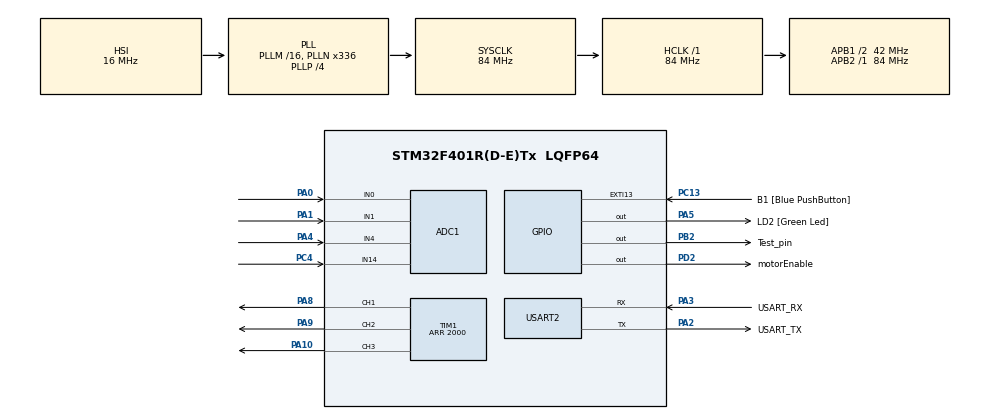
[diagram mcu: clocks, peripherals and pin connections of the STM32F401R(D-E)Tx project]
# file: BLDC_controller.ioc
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ADC1.Channel-0\#ChannelRegularConversion=ADC_CHANNEL_0
ADC1.Channel-1\#ChannelRegularConversion=ADC_CHANNEL_1
ADC1.Channel-2\#ChannelRegularConversion=ADC_CHANNEL_4
ADC1.Channel-3\#ChannelRegularConversion=ADC_CHANNEL_14
ADC1.ContinuousConvMode=DISABLE
ADC1.DMAContinuousRequests=ENABLE
ADC1.EOCSelection=ADC_EOC_SEQ_CONV
ADC1.NbrOfConversion=4
ADC1.NbrOfConversionFlag=1
ADC1.Rank-0\#ChannelRegularConversion=1
ADC1.Rank-1\#ChannelRegularConversion=2
ADC1.Rank-2\#ChannelRegularConversion=3
ADC1.Rank-3\#ChannelRegularConversion=4
ADC1.SamplingTime-0\#ChannelRegularConversion=ADC_SAMPLETIME_3CYCLES
ADC1.SamplingTime-1\#ChannelRegularConversion=ADC_SAMPLETIME_3CYCLES
ADC1.SamplingTime-2\#ChannelRegularConversion=ADC_SAMPLETIME_3CYCLES
ADC1.SamplingTime-3\#ChannelRegularConversion=ADC_SAMPLETIME_3CYCLES
ADC1.master=1
Dma.ADC1.0.Direction=DMA_PERIPH_TO_MEMORY
Dma.ADC1.0.FIFOMode=DMA_FIFOMODE_DISABLE
Dma.ADC1.0.Instance=DMA2_Stream0
Dma.ADC1.0.MemDataAlignment=DMA_MDATAALIGN_HALFWORD
Dma.ADC1.0.MemInc=DMA_MINC_ENABLE
Dma.ADC1.0.Mode=DMA_NORMAL
Dma.ADC1.0.PeriphDataAlignment=DMA_PDATAALIGN_HALFWORD
Dma.ADC1.0.PeriphInc=DMA_PINC_DISABLE
Dma.ADC1.0.Priority=DMA_PRIORITY_LOW
Dma.Request0=ADC1
Mcu.Family=STM32F4
Mcu.Name=STM32F401R(D-E)Tx
Mcu.Package=LQFP64
NVIC.DMA2_Stream0_IRQn=true\:0\:0\:false\:false\:true\:false\:true
NVIC.EXTI15_10_IRQn=true\:0\:0\:false\:false\:true\:true\:true
NVIC.PriorityGroup=NVIC_PRIORITYGROUP_0
NVIC.TIM1_CC_IRQn=true\:0\:0\:false\:false\:true\:true\:true
PA0-WKUP.Signal=ADCx_IN0
PA1.Signal=ADCx_IN1
PA10.Signal=S_TIM1_CH3
PA13.GPIO_Label=TMS
PA13.Mode=Serial_Wire
PA13.Signal=SYS_JTMS-SWDIO
PA14.GPIO_Label=TCK
PA14.Mode=Serial_Wire
PA14.Signal=SYS_JTCK-SWCLK
PA2.GPIO_Label=USART_TX
PA2.GPIO_Mode=GPIO_MODE_AF_PP
PA2.GPIO_PuPd=GPIO_NOPULL
PA2.GPIO_Speed=GPIO_SPEED_FREQ_LOW
PA2.Mode=Asynchronous
PA2.Signal=USART2_TX
PA3.GPIO_Label=USART_RX
PA3.GPIO_Mode=GPIO_MODE_AF_PP
PA3.GPIO_PuPd=GPIO_NOPULL
PA3.GPIO_Speed=GPIO_SPEED_FREQ_LOW
PA3.Mode=Asynchronous
PA3.Signal=USART2_RX
PA4.Signal=ADCx_IN4
PA5.GPIO_Label=LD2 [Green Led]
PA5.GPIO_Mode=GPIO_MODE_OUTPUT_PP
PA5.GPIO_PuPd=GPIO_NOPULL
PA5.GPIO_Speed=GPIO_SPEED_FREQ_LOW
PA5.Signal=GPIO_Output
PA8.Signal=S_TIM1_CH1
PA9.Signal=S_TIM1_CH2
PB2.GPIO_Label=Test_pin
PB2.Signal=GPIO_Output
PB3.GPIO_Label=SWO
PB3.Signal=SYS_JTDO-SWO
PC13-ANTI_TAMP.GPIO_Label=B1 [Blue PushButton]
PC13-ANTI_TAMP.GPIO_ModeDefaultEXTI=GPIO_MODE_IT_FALLING
PC13-ANTI_TAMP.GPIO_PuPd=GPIO_NOPULL
PC13-ANTI_TAMP.Signal=GPXTI13
PC14-OSC32_IN.Mode=LSE-External-Oscillator
PC14-OSC32_IN.Signal=RCC_OSC32_IN
PC15-OSC32_OUT.Mode=LSE-External-Oscillator
PC15-OSC32_OUT.Signal=RCC_OSC32_OUT
PC4.Signal=ADCx_IN14
PC6.GPIO_Label=PWM_A
PC6.Signal=S_TIM3_CH1
PC8.GPIO_Label=PWM_B
PC8.Signal=S_TIM3_CH3
PC9.GPIO_Label=PWM_C
PC9.Signal=S_TIM3_CH4
PD2.GPIO_Label=motorEnable
PD2.Signal=GPIO_Output
PH0\ -\ OSC_IN.Mode=HSE-External-Clock-Source
PH0\ -\ OSC_IN.Signal=RCC_OSC_IN
PH1\ -\ OSC_OUT.Mode=HSE-External-Clock-Source
PH1\ -\ OSC_OUT.Signal=RCC_OSC_OUT
ProjectManager.HeapSize=0x200
ProjectManager.StackSize=0x400
ProjectManager.TargetToolchain=STM32CubeIDE
RCC.48MHZClocksFreq_Value=48000000
RCC.AHBFreq_Value=84000000
RCC.APB1CLKDivider=RCC_HCLK_DIV2
RCC.APB1Freq_Value=42000000
RCC.APB1TimFreq_Value=84000000
RCC.APB2Freq_Value=84000000
RCC.APB2TimFreq_Value=84000000
RCC.CortexFreq_Value=84000000
RCC.HCLKFreq_Value=84000000
RCC.HSE_VALUE=8000000
RCC.HSI_VALUE=16000000
RCC.PLLN=336
RCC.PLLP=RCC_PLLP_DIV4
RCC.PLLQ=7
RCC.SYSCLKFreq_VALUE=84000000
RCC.SYSCLKSource=RCC_SYSCLKSOURCE_PLLCLK
RCC.VCOOutputFreq_Value=336000000
SH.ADCx_IN0.0=ADC1_IN0,IN0
SH.ADCx_IN1.0=ADC1_IN1,IN1
SH.ADCx_IN14.0=ADC1_IN14,IN14
SH.ADCx_IN4.0=ADC1_IN4,IN4
SH.S_TIM1_CH1.0=TIM1_CH1,PWM Generation1 CH1
SH.S_TIM1_CH2.0=TIM1_CH2,PWM Generation2 CH2
SH.S_TIM1_CH3.0=TIM1_CH3,PWM Generation3 CH3
SH.S_TIM3_CH1.0=TIM3_CH1
SH.S_TIM3_CH3.0=TIM3_CH3
SH.S_TIM3_CH4.0=TIM3_CH4
TIM1.Channel-Output\ Compare4\ No\ Output=TIM_CHANNEL_4
TIM1.Channel-PWM\ Generation1\ CH1=TIM_CHANNEL_1
TIM1.Channel-PWM\ Generation2\ CH2=TIM_CHANNEL_2
TIM1.Channel-PWM\ Generation3\ CH3=TIM_CHANNEL_3
TIM1.CounterMode=TIM_COUNTERMODE_CENTERALIGNED1
TIM1.Period=2000
TIM1.Pulse-Output\ Compare4\ No\ Output=640
TIM1.Pulse-PWM\ Generation1\ CH1=1000
TIM1.Pulse-PWM\ Generation2\ CH2=1000
TIM1.Pulse-PWM\ Generation3\ CH3=1000
USART2.VirtualMode=VM_ASYNC
VP_TIM1_VS_ClockSourceINT.Mode=Internal
VP_TIM1_VS_no_output4.Mode=Output Compare4 No Output
board=NUCLEO-F401RE

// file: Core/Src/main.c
/* USER CODE BEGIN Header */
/**
  ******************************************************************************
  * @file           : main.c
  * @brief          : Main program body
  ******************************************************************************
  * @attention
  *
  * Copyright (c) 2021 STMicroelectronics.
  * All rights reserved.
  *
  * This software is licensed under terms that can be found in the LICENSE file
  * in the root directory of this software component.
  * If no LICENSE file comes with this software, it is provided AS-IS.
  *
  ******************************************************************************
  */
/* USER CODE END Header */
#include "main.h"

/* USER CODE BEGIN Includes */
#include "SVM.h"
#include "stdio.h"
/* USER CODE END Includes */

/* USER CODE BEGIN PD */
#define PWM_CHANNELS	3
#define ADC_CHANNELS	4
#define ADC_MAX_12B		0xFFF
/* USER CODE END PD */

ADC_HandleTypeDef hadc1;
DMA_HandleTypeDef hdma_adc1;

TIM_HandleTypeDef htim1;

UART_HandleTypeDef huart2;

/* USER CODE BEGIN PV */

//global variables for monitoring
uint32_t g_PwmA;
uint32_t g_PwmB;
uint32_t g_PwmC;
uint32_t g_PwmMid;

uint32_t pwmValues[PWM_CHANNELS];
uint16_t adcValues[ADC_CHANNELS];
/* USER CODE END PV */

void SystemClock_Config(void);
static void MX_GPIO_Init(void);
static void MX_USART2_UART_Init(void);
static void MX_DMA_Init(void);
static void MX_ADC1_Init(void);
static void MX_TIM1_Init(void);

int main(void)
{

  /* MCU Configuration--------------------------------------------------------*/

  /* Reset of all peripherals, Initializes the Flash interface and the Systick. */
  HAL_Init();

  /* Configure the system clock */
  SystemClock_Config();

  /* Initialize all configured peripherals */
  MX_GPIO_Init();
  MX_USART2_UART_Init();
  MX_DMA_Init();
  MX_ADC1_Init();
  MX_TIM1_Init();
  /* USER CODE BEGIN 2 */
  uint32_t counter = 0;

  HAL_TIM_PWM_Start(&htim1, TIM_CHANNEL_1);
  HAL_TIM_PWM_Start(&htim1, TIM_CHANNEL_2);
  HAL_TIM_PWM_Start(&htim1, TIM_CHANNEL_3);
  //channel 4 generates interrupts for ADC synchronization
  //adjust channel 2 pulse width for generating interrupts in the middle of other pulses
  HAL_TIM_PWM_Start_IT(&htim1, TIM_CHANNEL_4);

  const int32_t PwmPeriod = htim1.Init.Period;

  printf("BLDC controller v1.0\r\n");

  HAL_GPIO_WritePin(motorEnable_GPIO_Port, motorEnable_Pin, GPIO_PIN_SET);
  /* USER CODE END 2 */

  /* Infinite loop */
  /* USER CODE BEGIN WHILE */
  while (1)
  {
	  counter++;

	  /* main loop heartbeat */
	  if(counter % 50000 == 0)
	  {
		  HAL_GPIO_TogglePin(LD2_GPIO_Port, LD2_Pin);
		  printf("%u\r\n", adcValues[3]);
	  }

	  uint32_t angle = (counter >> 4) % 36000;
	  pwmValues[0] = ((getSVMvalue(angle) * PwmPeriod) >> 16) * adcValues[3] / ADC_MAX_12B + (PwmPeriod >> 1);
	  pwmValues[1] = ((getSVMvalue(angle + 12000) * PwmPeriod) >> 16) * adcValues[3] / ADC_MAX_12B + (PwmPeriod >> 1);
	  pwmValues[2] = ((getSVMvalue(angle + 24000) * PwmPeriod) >> 16) * adcValues[3] / ADC_MAX_12B + (PwmPeriod >> 1);

	  g_PwmA = pwmValues[0];
	  g_PwmB = pwmValues[1];
	  g_PwmC = pwmValues[2];
	  g_PwmMid = (g_PwmA + g_PwmB + g_PwmC) / 3;

	  //HAL_GPIO_TogglePin(Test_pin_GPIO_Port, Test_pin_Pin);

    /* USER CODE END WHILE */

  }
}

void SystemClock_Config(void)
{
  RCC_OscInitTypeDef RCC_OscInitStruct = {0};
  RCC_ClkInitTypeDef RCC_ClkInitStruct = {0};

  /** Configure the main internal regulator output voltage
  */
  __HAL_RCC_PWR_CLK_ENABLE();
  __HAL_PWR_VOLTAGESCALING_CONFIG(PWR_REGULATOR_VOLTAGE_SCALE2);
  /** Initializes the RCC Oscillators according to the specified parameters
  * in the RCC_OscInitTypeDef structure.
  */
  RCC_OscInitStruct.OscillatorType = RCC_OSCILLATORTYPE_HSI;
  RCC_OscInitStruct.HSIState = RCC_HSI_ON;
  RCC_OscInitStruct.HSICalibrationValue = RCC_HSICALIBRATION_DEFAULT;
  RCC_OscInitStruct.PLL.PLLState = RCC_PLL_ON;
  RCC_OscInitStruct.PLL.PLLSource = RCC_PLLSOURCE_HSI;
  RCC_OscInitStruct.PLL.PLLM = 16;
  RCC_OscInitStruct.PLL.PLLN = 336;
  RCC_OscInitStruct.PLL.PLLP = RCC_PLLP_DIV4;
  RCC_OscInitStruct.PLL.PLLQ = 7;
  if (HAL_RCC_OscConfig(&RCC_OscInitStruct) != HAL_OK)
  {
    Error_Handler();
  }
  /** Initializes the CPU, AHB and APB buses clocks
  */
  RCC_ClkInitStruct.ClockType = RCC_CLOCKTYPE_HCLK|RCC_CLOCKTYPE_SYSCLK
                              |RCC_CLOCKTYPE_PCLK1|RCC_CLOCKTYPE_PCLK2;
  RCC_ClkInitStruct.SYSCLKSource = RCC_SYSCLKSOURCE_PLLCLK;
  RCC_ClkInitStruct.AHBCLKDivider = RCC_SYSCLK_DIV1;
  RCC_ClkInitStruct.APB1CLKDivider = RCC_HCLK_DIV2;
  RCC_ClkInitStruct.APB2CLKDivider = RCC_HCLK_DIV1;

  if (HAL_RCC_ClockConfig(&RCC_ClkInitStruct, FLASH_LATENCY_2) != HAL_OK)
  {
    Error_Handler();
  }
}

static void MX_ADC1_Init(void)
{

  ADC_ChannelConfTypeDef sConfig = {0};

  /** Configure the global features of the ADC (Clock, Resolution, Data Alignment and number of conversion)
  */
  hadc1.Instance = ADC1;
  hadc1.Init.ClockPrescaler = ADC_CLOCK_SYNC_PCLK_DIV4;
  hadc1.Init.Resolution = ADC_RESOLUTION_12B;
  hadc1.Init.ScanConvMode = ENABLE;
  hadc1.Init.ContinuousConvMode = DISABLE;
  hadc1.Init.DiscontinuousConvMode = DISABLE;
  hadc1.Init.ExternalTrigConvEdge = ADC_EXTERNALTRIGCONVEDGE_NONE;
  hadc1.Init.ExternalTrigConv = ADC_SOFTWARE_START;
  hadc1.Init.DataAlign = ADC_DATAALIGN_RIGHT;
  hadc1.Init.NbrOfConversion = 4;
  hadc1.Init.DMAContinuousRequests = ENABLE;
  hadc1.Init.EOCSelection = ADC_EOC_SEQ_CONV;
  if (HAL_ADC_Init(&hadc1) != HAL_OK)
  {
    Error_Handler();
  }
  /** Configure for the selected ADC regular channel its corresponding rank in the sequencer and its sample time.
  */
  sConfig.Channel = ADC_CHANNEL_0;
  sConfig.Rank = 1;
  sConfig.SamplingTime = ADC_SAMPLETIME_3CYCLES;
  if (HAL_ADC_ConfigChannel(&hadc1, &sConfig) != HAL_OK)
  {
    Error_Handler();
  }
  /** Configure for the selected ADC regular channel its corresponding rank in the sequencer and its sample time.
  */
  sConfig.Channel = ADC_CHANNEL_1;
  sConfig.Rank = 2;
  if (HAL_ADC_ConfigChannel(&hadc1, &sConfig) != HAL_OK)
  {
    Error_Handler();
  }
  /** Configure for the selected ADC regular channel its corresponding rank in the sequencer and its sample time.
  */
  sConfig.Channel = ADC_CHANNEL_4;
  sConfig.Rank = 3;
  if (HAL_ADC_ConfigChannel(&hadc1, &sConfig) != HAL_OK)
  {
    Error_Handler();
  }
  /** Configure for the selected ADC regular channel its corresponding rank in the sequencer and its sample time.
  */
  sConfig.Channel = ADC_CHANNEL_14;
  sConfig.Rank = 4;
  if (HAL_ADC_ConfigChannel(&hadc1, &sConfig) != HAL_OK)
  {
    Error_Handler();
  }

}

static void MX_TIM1_Init(void)
{

  TIM_ClockConfigTypeDef sClockSourceConfig = {0};
  TIM_MasterConfigTypeDef sMasterConfig = {0};
  TIM_OC_InitTypeDef sConfigOC = {0};
  TIM_BreakDeadTimeConfigTypeDef sBreakDeadTimeConfig = {0};

  htim1.Instance = TIM1;
  htim1.Init.Prescaler = 0;
  htim1.Init.CounterMode = TIM_COUNTERMODE_CENTERALIGNED1;
  htim1.Init.Period = 2000;
  htim1.Init.ClockDivision = TIM_CLOCKDIVISION_DIV1;
  htim1.Init.RepetitionCounter = 0;
  htim1.Init.AutoReloadPreload = TIM_AUTORELOAD_PRELOAD_DISABLE;
  if (HAL_TIM_Base_Init(&htim1) != HAL_OK)
  {
    Error_Handler();
  }
  sClockSourceConfig.ClockSource = TIM_CLOCKSOURCE_INTERNAL;
  if (HAL_TIM_ConfigClockSource(&htim1, &sClockSourceConfig) != HAL_OK)
  {
    Error_Handler();
  }
  if (HAL_TIM_PWM_Init(&htim1) != HAL_OK)
  {
    Error_Handler();
  }
  if (HAL_TIM_OC_Init(&htim1) != HAL_OK)
  {
    Error_Handler();
  }
  sMasterConfig.MasterOutputTrigger = TIM_TRGO_RESET;
  sMasterConfig.MasterSlaveMode = TIM_MASTERSLAVEMODE_DISABLE;
  if (HAL_TIMEx_MasterConfigSynchronization(&htim1, &sMasterConfig) != HAL_OK)
  {
    Error_Handler();
  }
  sConfigOC.OCMode = TIM_OCMODE_PWM1;
  sConfigOC.Pulse = 1000;
  sConfigOC.OCPolarity = TIM_OCPOLARITY_HIGH;
  sConfigOC.OCNPolarity = TIM_OCNPOLARITY_HIGH;
  sConfigOC.OCFastMode = TIM_OCFAST_DISABLE;
  sConfigOC.OCIdleState = TIM_OCIDLESTATE_RESET;
  sConfigOC.OCNIdleState = TIM_OCNIDLESTATE_RESET;
  if (HAL_TIM_PWM_ConfigChannel(&htim1, &sConfigOC, TIM_CHANNEL_1) != HAL_OK)
  {
    Error_Handler();
  }
  if (HAL_TIM_PWM_ConfigChannel(&htim1, &sConfigOC, TIM_CHANNEL_2) != HAL_OK)
  {
    Error_Handler();
  }
  if (HAL_TIM_PWM_ConfigChannel(&htim1, &sConfigOC, TIM_CHANNEL_3) != HAL_OK)
  {
    Error_Handler();
  }
  sConfigOC.OCMode = TIM_OCMODE_TIMING;
  sConfigOC.Pulse = 640;
  if (HAL_TIM_OC_ConfigChannel(&htim1, &sConfigOC, TIM_CHANNEL_4) != HAL_OK)
  {
    Error_Handler();
  }
  sBreakDeadTimeConfig.OffStateRunMode = TIM_OSSR_DISABLE;
  sBreakDeadTimeConfig.OffStateIDLEMode = TIM_OSSI_DISABLE;
  sBreakDeadTimeConfig.LockLevel = TIM_LOCKLEVEL_OFF;
  sBreakDeadTimeConfig.DeadTime = 0;
  sBreakDeadTimeConfig.BreakState = TIM_BREAK_DISABLE;
  sBreakDeadTimeConfig.BreakPolarity = TIM_BREAKPOLARITY_HIGH;
  sBreakDeadTimeConfig.AutomaticOutput = TIM_AUTOMATICOUTPUT_DISABLE;
  if (HAL_TIMEx_ConfigBreakDeadTime(&htim1, &sBreakDeadTimeConfig) != HAL_OK)
  {
    Error_Handler();
  }
  HAL_TIM_MspPostInit(&htim1);

}

static void MX_USART2_UART_Init(void)
{

  huart2.Instance = USART2;
  huart2.Init.BaudRate = 115200;
  huart2.Init.WordLength = UART_WORDLENGTH_8B;
  huart2.Init.StopBits = UART_STOPBITS_1;
  huart2.Init.Parity = UART_PARITY_NONE;
  huart2.Init.Mode = UART_MODE_TX_RX;
  huart2.Init.HwFlowCtl = UART_HWCONTROL_NONE;
  huart2.Init.OverSampling = UART_OVERSAMPLING_16;
  if (HAL_UART_Init(&huart2) != HAL_OK)
  {
    Error_Handler();
  }

}

static void MX_DMA_Init(void)
{

  /* DMA controller clock enable */
  __HAL_RCC_DMA2_CLK_ENABLE();

  /* DMA interrupt init */
  /* DMA2_Stream0_IRQn interrupt configuration */
  HAL_NVIC_SetPriority(DMA2_Stream0_IRQn, 0, 0);
  HAL_NVIC_EnableIRQ(DMA2_Stream0_IRQn);

}

static void MX_GPIO_Init(void)
{
  GPIO_InitTypeDef GPIO_InitStruct = {0};

  /* GPIO Ports Clock Enable */
  __HAL_RCC_GPIOC_CLK_ENABLE();
  __HAL_RCC_GPIOH_CLK_ENABLE();
  __HAL_RCC_GPIOA_CLK_ENABLE();
  __HAL_RCC_GPIOB_CLK_ENABLE();
  __HAL_RCC_GPIOD_CLK_ENABLE();

  /*Configure GPIO pin Output Level */
  HAL_GPIO_WritePin(LD2_GPIO_Port, LD2_Pin, GPIO_PIN_RESET);

  /*Configure GPIO pin Output Level */
  HAL_GPIO_WritePin(Test_pin_GPIO_Port, Test_pin_Pin, GPIO_PIN_RESET);

  /*Configure GPIO pin Output Level */
  HAL_GPIO_WritePin(motorEnable_GPIO_Port, motorEnable_Pin, GPIO_PIN_RESET);

  /*Configure GPIO pin : B1_Pin */
  GPIO_InitStruct.Pin = B1_Pin;
  GPIO_InitStruct.Mode = GPIO_MODE_IT_FALLING;
  GPIO_InitStruct.Pull = GPIO_NOPULL;
  HAL_GPIO_Init(B1_GPIO_Port, &GPIO_InitStruct);

  /*Configure GPIO pin : LD2_Pin */
  GPIO_InitStruct.Pin = LD2_Pin;
  GPIO_InitStruct.Mode = GPIO_MODE_OUTPUT_PP;
  GPIO_InitStruct.Pull = GPIO_NOPULL;
  GPIO_InitStruct.Speed = GPIO_SPEED_FREQ_LOW;
  HAL_GPIO_Init(LD2_GPIO_Port, &GPIO_InitStruct);

  /*Configure GPIO pin : Test_pin_Pin */
  GPIO_InitStruct.Pin = Test_pin_Pin;
  GPIO_InitStruct.Mode = GPIO_MODE_OUTPUT_PP;
  GPIO_InitStruct.Pull = GPIO_NOPULL;
  GPIO_InitStruct.Speed = GPIO_SPEED_FREQ_LOW;
  HAL_GPIO_Init(Test_pin_GPIO_Port, &GPIO_InitStruct);

  /*Configure GPIO pins : PWM_A_Pin PWM_B_Pin PWM_C_Pin */
  GPIO_InitStruct.Pin = PWM_A_Pin|PWM_B_Pin|PWM_C_Pin;
  GPIO_InitStruct.Mode = GPIO_MODE_AF_PP;
  GPIO_InitStruct.Pull = GPIO_NOPULL;
  GPIO_InitStruct.Speed = GPIO_SPEED_FREQ_LOW;
  GPIO_InitStruct.Alternate = GPIO_AF2_TIM3;
  HAL_GPIO_Init(GPIOC, &GPIO_InitStruct);

  /*Configure GPIO pin : motorEnable_Pin */
  GPIO_InitStruct.Pin = motorEnable_Pin;
  GPIO_InitStruct.Mode = GPIO_MODE_OUTPUT_PP;
  GPIO_InitStruct.Pull = GPIO_NOPULL;
  GPIO_InitStruct.Speed = GPIO_SPEED_FREQ_LOW;
  HAL_GPIO_Init(motorEnable_GPIO_Port, &GPIO_InitStruct);

  /* EXTI interrupt init*/
  HAL_NVIC_SetPriority(EXTI15_10_IRQn, 0, 0);
  HAL_NVIC_EnableIRQ(EXTI15_10_IRQn);

}

/* USER CODE BEGIN 4 */
void HAL_TIM_PWM_PulseFinishedCallback(TIM_HandleTypeDef *htim)
{
	TIM1->CCR1 = pwmValues[0];
	TIM1->CCR2 = pwmValues[1];
	TIM1->CCR3 = pwmValues[2];
	HAL_ADC_Start_DMA(&hadc1, (uint32_t*)adcValues, ADC_CHANNELS);
	HAL_GPIO_TogglePin(Test_pin_GPIO_Port, Test_pin_Pin);
}

//callback on GPIO EXTI interrupt
void HAL_GPIO_EXTI_Callback(uint16_t GPIO_Pin)
{
	if(GPIO_Pin == B1_Pin)
	{
		//panic button pressed
		HAL_GPIO_WritePin(motorEnable_GPIO_Port, motorEnable_Pin, GPIO_PIN_RESET);
	}
}

int _write(int file, char *ptr, int len)
{
    HAL_UART_Transmit(&huart2, (uint8_t *) ptr, len, HAL_MAX_DELAY);
    return len;
}
/* USER CODE END 4 */

void Error_Handler(void)
{
  __disable_irq();
  while (1)
  {
  }
}
